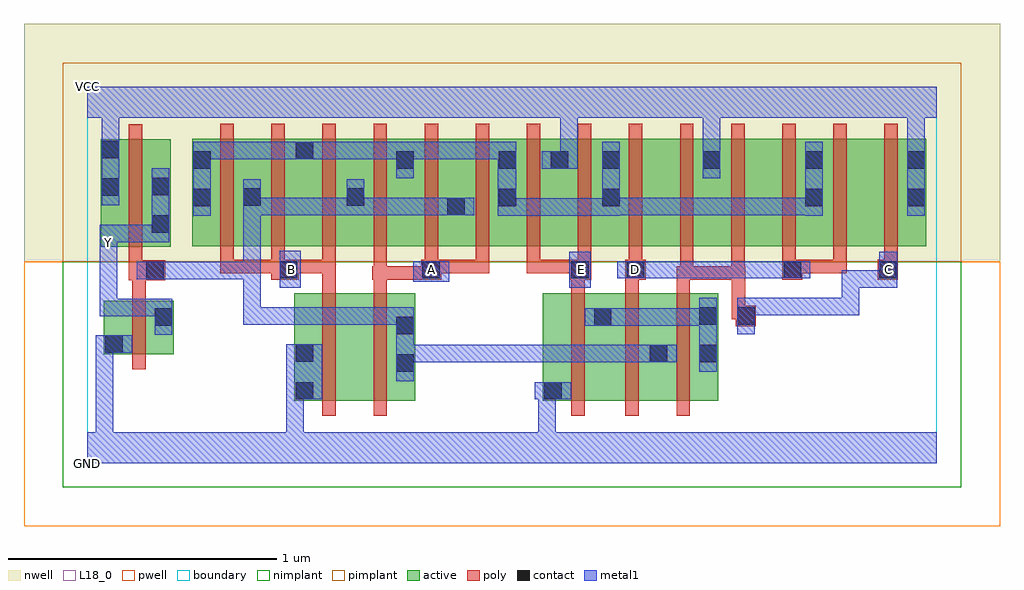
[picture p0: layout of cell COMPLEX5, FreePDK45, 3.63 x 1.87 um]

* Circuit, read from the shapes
.subckt COMPLEX5 A B C D E GND VCC Y
M1 Y n1 GND VSUBS nfet w=0.2u l=0.05u
M2 n2 B GND VSUBS nfet w=0.4u l=0.05u
M3 n1 A n2 VSUBS nfet w=0.4u l=0.05u
M4 n3 E GND VSUBS nfet w=0.4u l=0.05u
M5 n1 D n3 VSUBS nfet w=0.4u l=0.05u
M6 n3 C n1 VSUBS nfet w=0.4u l=0.05u
M7 Y n1 VCC n4 pfet w=0.4u l=0.05u
M8 n1 B n5 n4 pfet w=0.4u l=0.05u m=3
M9 n5 A n1 n4 pfet w=0.4u l=0.05u m=3
M10 VCC E n5 n4 pfet w=0.4u l=0.05u m=2
M11 n6 D n5 n4 pfet w=0.4u l=0.05u
M12 VCC C n6 n4 pfet w=0.4u l=0.05u
M13 n7 C VCC n4 pfet w=0.4u l=0.05u
M14 n5 D n7 n4 pfet w=0.4u l=0.05u
M15 n8 D n5 n4 pfet w=0.4u l=0.05u
M16 VCC C n8 n4 pfet w=0.4u l=0.05u
.ends

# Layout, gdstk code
import gdstk
lib = gdstk.Library(unit=1e-6, precision=1e-09)
def R(c, l, rs):  # rectangles x0, y0, x1, y1
    for r in rs: c.add(gdstk.rectangle(r[:2], r[2:], *l))
def A(c, l, x, y, w, h, nx, ny, dx, dy):  # array of equal rectangles
    R(c, l, [(x+i*dx, y+j*dy, x+i*dx+w, y+j*dy+h) for i in range(nx) for j in range(ny)])
active = (1, 0)
pwell = (2, 0)
nwell = (3, 0)
nimplant = (4, 0)
pimplant = (5, 0)
poly = (9, 0)
contact = (10, 0)
metal1 = (11, 0)
L18_0 = (18, 0)
boundary = (235, 0)

complex5 = lib.new_cell('COMPLEX5')
A(complex5, active, 2.135, 0.807, 0.225, 0.4, 3, 1, 0.38, 0)
R(complex5, active, [(0.77,0.232,0.995,0.632), (0.77,0.232,0.845,0.597), (0.995,0.232,1.22,0.632), (1.695,0.232,1.77,0.632), (1.695,0.232,1.955,0.632), (1.88,0.232,2.162,0.632), (2.087,0.232,2.347,0.632), (2.087,0.232,2.162,0.492), (2.272,0.232,2.347,0.632), (1.145,0.295,1.22,0.632), (1.88,0.295,1.955,0.632), (0.062,0.405,0.322,0.605), (0.062,0.405,0.137,0.605), (0.247,0.495,0.322,0.605), (0.05,0.805,0.125,1.205), (0.05,0.805,0.31,1.205), (0.235,0.805,0.31,1.2), (0.39,0.807,0.65,1.207), (0.39,0.807,0.465,1.2), (0.575,0.807,0.845,1.207), (0.575,0.807,0.65,1.07), (0.77,0.807,0.845,1.2), (0.77,0.807,1.035,1.207), (0.96,0.807,1.22,1.207), (0.96,0.807,1.035,1.07), (1.145,0.807,1.22,1.2), (1.145,0.807,1.41,1.207), (1.335,0.807,1.6,1.207), (1.335,0.807,1.41,1.07), (1.525,0.807,1.6,1.2), (1.525,0.807,1.795,1.207), (1.72,0.807,1.795,1.207), (1.72,0.807,1.985,1.207), (1.91,0.807,2.135,1.207), (1.91,0.807,1.985,1.2), (2.285,0.807,2.36,1.207), (2.285,0.807,2.515,1.207), (2.665,0.807,2.895,1.207), (2.665,0.807,2.74,1.2), (3.045,0.807,3.12,1.207)])
R(complex5, pwell, [(-0.235,-0.235,3.395,0.75)])
R(complex5, nwell, [(-0.235,0.75,3.395,1.635)])
R(complex5, nimplant, [(-0.09,-0.09,3.25,0.75)])
R(complex5, pimplant, [(-0.09,0.75,3.25,1.49)])
A(complex5, poly, 0.495, 0.707, 0.05, 0.095, 3, 1, 0.19, 0)
A(complex5, poly, 1.255, 0.707, 0.05, 0.095, 5, 1, 0.19, 0)
A(complex5, poly, 2.585, 0.707, 0.05, 0.095, 3, 1, 0.19, 0)
A(complex5, poly, 0.495, 0.752, 0.05, 0.51, 14, 1, 0.19, 0)
R(complex5, poly, [(0.875,0.177,0.925,0.687), (1.065,0.177,1.115,0.687), (1.8,0.177,1.85,0.687), (2.002,0.177,2.052,0.687), (2.192,0.177,2.242,0.687), (0.167,0.35,0.217,0.66), (2.412,0.51,2.487,0.585), (2.397,0.535,2.447,0.732), (2.397,0.535,2.462,0.585), (2.412,0.535,2.462,0.585), (0.167,0.61,0.217,0.73), (0.875,0.637,0.925,0.757), (1.065,0.637,1.115,0.732), (1.8,0.637,1.85,0.732), (2.002,0.637,2.052,0.732), (2.192,0.637,2.242,0.732), (0.155,0.68,0.29,0.755), (0.685,0.682,0.787,0.757), (1.06,0.682,1.115,0.732), (1.065,0.682,1.115,0.732), (1.065,0.682,1.115,0.732), (1.065,0.682,1.115,0.802), (1.065,0.682,1.292,0.732), (1.242,0.682,1.317,0.757), (1.795,0.682,1.875,0.757), (2.002,0.682,2.077,0.757), (2.192,0.682,2.255,0.732), (2.205,0.682,2.255,0.732), (2.205,0.682,2.255,0.732), (2.205,0.682,2.255,0.802), (2.205,0.682,2.445,0.732), (2.395,0.682,2.445,0.802), (2.395,0.682,2.447,0.732), (2.585,0.682,2.66,0.757), (2.94,0.682,3.015,0.757), (0.155,0.705,0.205,0.8), (0.495,0.707,0.545,0.757), (0.495,0.707,0.735,0.757), (0.685,0.707,0.735,0.757), (0.685,0.707,0.735,0.757), (0.737,0.707,0.925,0.757), (0.875,0.707,0.925,0.757), (0.875,0.707,0.925,0.757), (0.875,0.707,0.925,0.757), (1.267,0.707,1.495,0.757), (1.445,0.707,1.495,0.757), (1.445,0.707,1.495,0.757), (1.445,0.707,1.495,0.757), (1.635,0.707,1.685,0.757), (1.635,0.707,1.845,0.757), (1.795,0.707,1.845,0.757), (1.795,0.707,1.845,0.757), (2.61,0.707,2.825,0.757), (2.61,0.707,2.66,0.757), (2.61,0.707,2.66,0.757), (2.775,0.707,2.825,0.757), (0.155,0.75,0.205,1.26)])
A(complex5, contact, 2.29, 1.095, 0.065, 0.065, 3, 1, 0.38, 0)
R(complex5, contact, [(0.775,0.237,0.84,0.302), (1.7,0.237,1.765,0.302), (1.15,0.34,1.215,0.405), (2.092,0.375,2.157,0.44), (2.277,0.375,2.342,0.44), (0.775,0.377,0.84,0.442), (0.067,0.41,0.132,0.475), (1.15,0.48,1.215,0.545), (0.252,0.512,0.317,0.577), (1.885,0.512,1.95,0.577), (2.277,0.515,2.342,0.58), (2.417,0.515,2.482,0.58), (0.22,0.685,0.285,0.75), (0.717,0.687,0.782,0.752), (1.247,0.687,1.312,0.752), (1.8,0.687,1.865,0.752), (2.007,0.687,2.072,0.752), (2.59,0.687,2.655,0.752), (2.945,0.687,3.01,0.752), (0.24,0.857,0.305,0.922), (1.34,0.922,1.405,0.987), (0.395,0.955,0.46,1.02), (1.53,0.955,1.595,1.02), (1.915,0.955,1.98,1.02), (2.67,0.955,2.735,1.02), (3.05,0.955,3.115,1.02), (0.58,0.957,0.645,1.022), (0.965,0.957,1.03,1.022), (0.055,0.995,0.12,1.06), (0.24,0.997,0.305,1.062), (0.395,1.095,0.46,1.16), (1.15,1.095,1.215,1.16), (1.53,1.095,1.595,1.16), (1.725,1.095,1.79,1.16), (1.915,1.095,1.98,1.16), (0.775,1.13,0.84,1.195), (0.055,1.135,0.12,1.2)])
R(complex5, metal1, [(0,0,3.16,0.115), (0.032,0.05,0.097,0.115), (0.032,0.05,0.097,0.115), (0.032,0.05,0.097,0.115), (0.032,0.05,0.097,0.115), (0.032,0.05,0.097,0.115), (0.032,0.05,0.097,0.115), (0.032,0.05,0.097,0.475), (0.74,0.05,0.805,0.302), (1.677,0.05,1.742,0.302), (0.74,0.237,0.805,0.302), (0.74,0.237,0.805,0.302), (0.74,0.237,0.875,0.442), (1.665,0.237,1.8,0.302), (1.677,0.237,1.742,0.302), (1.677,0.237,1.742,0.302), (1.15,0.305,1.215,0.58), (2.277,0.34,2.342,0.615), (1.15,0.375,1.215,0.44), (1.15,0.375,1.215,0.44), (1.15,0.375,1.352,0.44), (1.287,0.375,1.49,0.44), (1.287,0.375,1.352,0.44), (1.425,0.375,1.49,0.44), (1.425,0.375,1.49,0.44), (1.425,0.375,1.49,0.44), (1.425,0.375,1.627,0.44), (1.562,0.375,1.765,0.44), (1.562,0.375,1.627,0.44), (1.7,0.375,1.765,0.44), (1.7,0.375,1.765,0.44), (1.7,0.375,1.765,0.44), (1.7,0.375,1.765,0.44), (1.7,0.375,1.765,0.44), (1.7,0.375,1.985,0.44), (1.92,0.375,1.985,0.44), (1.92,0.375,2.122,0.44), (2.057,0.375,2.122,0.44), (2.057,0.375,2.122,0.44), (2.057,0.375,2.192,0.44), (0.032,0.41,0.167,0.475), (0.252,0.477,0.317,0.612), (2.417,0.48,2.482,0.615), (1.85,0.512,1.985,0.577), (1.92,0.512,1.985,0.577), (1.92,0.512,1.985,0.577), (1.92,0.512,2.122,0.577), (2.057,0.512,2.122,0.577), (2.057,0.512,2.265,0.577), (2.2,0.512,2.265,0.577), (2.2,0.512,2.342,0.577), (0.58,0.515,0.645,0.58), (0.58,0.515,0.645,0.58), (0.58,0.515,0.645,0.58), (0.58,0.515,0.782,0.58), (0.58,0.515,0.645,0.75), (0.717,0.515,0.782,0.58), (0.717,0.515,0.782,0.58), (0.717,0.515,0.782,0.58), (0.717,0.515,1.03,0.58), (0.965,0.515,1.03,0.58), (0.965,0.515,1.03,0.58), (0.965,0.515,1.03,0.58), (0.965,0.515,1.215,0.58), (0.047,0.547,0.112,0.612), (0.047,0.547,0.317,0.612), (0.047,0.547,0.112,0.817), (0.252,0.547,0.317,0.612), (0.252,0.547,0.317,0.612), (2.417,0.55,2.62,0.615), (2.417,0.55,2.482,0.615), (2.417,0.55,2.482,0.615), (2.417,0.55,2.482,0.615), (2.417,0.55,2.482,0.615), (2.555,0.55,2.62,0.615), (2.555,0.55,2.62,0.615), (2.555,0.55,2.62,0.615), (2.555,0.55,2.872,0.615), (2.807,0.55,2.872,0.717), (2.807,0.55,2.872,0.615), (2.807,0.55,2.872,0.615), (2.807,0.55,2.872,0.615), (0.717,0.652,0.795,0.79), (1.792,0.652,1.872,0.787), (2.807,0.652,3.01,0.717), (2.807,0.652,2.872,0.717), (2.945,0.652,3.012,0.787), (1.212,0.675,1.347,0.752), (0.185,0.685,0.32,0.75), (0.255,0.685,0.32,0.75), (0.255,0.685,0.32,0.75), (0.255,0.685,0.507,0.75), (0.442,0.685,0.645,0.75), (0.442,0.685,0.507,0.75), (0.442,0.685,0.507,0.75), (0.442,0.685,0.507,0.75), (0.58,0.685,0.645,0.75), (0.58,0.685,0.645,0.987), (1.972,0.687,2.107,0.752), (2.042,0.687,2.122,0.752), (2.057,0.687,2.122,0.752), (2.057,0.687,2.337,0.752), (2.272,0.687,2.337,0.752), (2.272,0.687,2.342,0.752), (2.277,0.687,2.48,0.752), (2.277,0.687,2.342,0.752), (2.415,0.687,2.48,0.752), (2.415,0.687,2.48,0.752), (2.415,0.687,2.48,0.752), (2.415,0.687,2.62,0.752), (2.555,0.687,2.69,0.752), (0.047,0.752,0.112,0.887), (0.047,0.822,0.112,0.887), (0.047,0.822,0.112,0.887), (0.047,0.822,0.305,0.887), (0.24,0.822,0.305,1.097), (0.24,0.822,0.305,0.887), (0.24,0.822,0.305,0.887), (0.395,0.92,0.46,1.195), (1.527,0.92,1.592,0.985), (1.527,0.92,1.592,0.985), (1.527,0.92,1.627,0.985), (1.527,0.92,1.595,1.195), (1.562,0.92,1.627,0.985), (1.562,0.92,1.777,0.985), (1.712,0.92,1.777,0.985), (1.712,0.92,1.777,0.985), (1.712,0.92,1.777,0.985), (1.712,0.92,1.98,0.985), (1.915,0.92,1.98,1.195), (2.67,0.92,2.735,1.195), (3.05,0.92,3.115,1.195), (0.58,0.922,0.645,0.987), (0.58,0.922,0.645,0.987), (0.58,0.922,0.645,1.057), (0.58,0.922,0.875,0.987), (0.81,0.922,0.875,0.987), (0.81,0.922,0.875,0.987), (0.81,0.922,0.875,0.987), (0.81,0.922,1.03,0.987), (0.965,0.922,1.03,0.987), (0.965,0.922,1.03,0.987), (0.965,0.922,1.03,1.057), (0.965,0.922,1.167,0.987), (1.102,0.922,1.167,0.987), (1.102,0.922,1.167,0.987), (1.102,0.922,1.167,0.987), (1.102,0.922,1.37,0.987), (1.305,0.922,1.44,0.987), (1.915,0.922,1.98,0.987), (1.915,0.922,1.98,0.987), (1.915,0.922,2.122,0.987), (2.057,0.922,2.122,0.987), (2.057,0.922,2.34,0.987), (2.275,0.922,2.34,0.987), (2.275,0.922,2.34,0.987), (2.275,0.922,2.34,0.987), (2.275,0.922,2.482,0.987), (2.417,0.922,2.482,0.987), (2.417,0.922,2.482,0.987), (2.417,0.922,2.482,0.987), (2.417,0.922,2.735,0.987), (2.67,0.922,2.735,0.987), (2.67,0.922,2.735,0.987), (0.055,0.96,0.12,1.235), (1.15,1.06,1.215,1.195), (2.29,1.06,2.355,1.195), (1.69,1.095,1.825,1.16), (1.76,1.095,1.825,1.35), (0.395,1.13,0.46,1.195), (0.395,1.13,0.46,1.195), (0.395,1.13,0.645,1.195), (0.58,1.13,0.645,1.195), (0.58,1.13,0.645,1.195), (0.58,1.13,0.645,1.195), (0.58,1.13,0.805,1.195), (0.74,1.13,0.875,1.195), (0.81,1.13,0.875,1.195), (0.81,1.13,0.875,1.195), (0.81,1.13,1.012,1.195), (0.947,1.13,1.012,1.195), (0.947,1.13,1.012,1.195), (0.947,1.13,1.012,1.195), (0.947,1.13,1.215,1.195), (1.15,1.13,1.215,1.195), (1.15,1.13,1.215,1.195), (1.15,1.13,1.352,1.195), (1.287,1.13,1.352,1.195), (1.287,1.13,1.47,1.195), (1.405,1.13,1.47,1.195), (1.405,1.13,1.592,1.195), (2.29,1.13,2.355,1.35), (3.05,1.13,3.115,1.35), (0.055,1.17,0.12,1.35), (0,1.285,3.16,1.4)])
R(complex5, L18_0, [(0,0,3.16,0.115), (0.032,0.05,0.097,0.115), (0.032,0.05,0.097,0.115), (0.032,0.05,0.097,0.115), (0.032,0.05,0.097,0.115), (0.032,0.05,0.097,0.115), (0.032,0.05,0.097,0.115), (0.032,0.05,0.097,0.475), (0.74,0.05,0.805,0.302), (1.677,0.05,1.742,0.302), (0.74,0.237,0.805,0.302), (0.74,0.237,0.805,0.302), (0.74,0.237,0.875,0.442), (1.665,0.237,1.8,0.302), (1.677,0.237,1.742,0.302), (1.677,0.237,1.742,0.302), (0.032,0.41,0.167,0.475), (0.252,0.477,0.317,0.612), (2.417,0.48,2.482,0.615), (0.047,0.547,0.112,0.612), (0.047,0.547,0.112,0.817), (0.047,0.547,0.317,0.612), (0.252,0.547,0.317,0.612), (0.252,0.547,0.317,0.612), (2.417,0.55,2.482,0.615), (2.417,0.55,2.482,0.615), (2.417,0.55,2.482,0.615), (2.417,0.55,2.482,0.615), (2.417,0.55,2.62,0.615), (2.555,0.55,2.62,0.615), (2.555,0.55,2.62,0.615), (2.555,0.55,2.62,0.615), (2.555,0.55,2.872,0.615), (2.807,0.55,2.872,0.615), (2.807,0.55,2.872,0.615), (2.807,0.55,2.872,0.615), (2.807,0.55,2.872,0.717), (0.717,0.652,0.795,0.79), (1.792,0.652,1.872,0.787), (2.807,0.652,2.872,0.717), (2.807,0.652,3.01,0.717), (2.945,0.652,3.012,0.787), (1.212,0.675,1.347,0.752), (0.727,0.687,0.792,0.752), (1.247,0.687,1.312,0.752), (1.807,0.687,1.872,0.752), (1.972,0.687,2.107,0.752), (2.007,0.687,2.072,0.752), (2.042,0.687,2.122,0.752), (2.057,0.687,2.122,0.752), (2.057,0.687,2.337,0.752), (2.272,0.687,2.337,0.752), (2.272,0.687,2.342,0.752), (2.277,0.687,2.342,0.752), (2.277,0.687,2.48,0.752), (2.415,0.687,2.48,0.752), (2.415,0.687,2.48,0.752), (2.415,0.687,2.48,0.752), (2.415,0.687,2.62,0.752), (2.555,0.687,2.69,0.752), (2.947,0.687,3.012,0.752), (0.047,0.752,0.112,0.887), (0.047,0.787,0.112,0.852), (0.047,0.822,0.112,0.887), (0.047,0.822,0.112,0.887), (0.047,0.822,0.305,0.887), (0.24,0.822,0.305,0.887), (0.24,0.822,0.305,0.887), (0.24,0.822,0.305,1.097), (3.05,0.92,3.115,1.195), (0.055,0.96,0.12,1.235), (2.29,1.06,2.355,1.195), (1.69,1.095,1.825,1.16), (1.76,1.095,1.825,1.35), (2.29,1.13,2.355,1.35), (3.05,1.13,3.115,1.35), (0.055,1.17,0.12,1.35), (0,1.285,3.16,1.4)])
R(complex5, boundary, [(0,0,3.16,1.4)])
complex5.add(gdstk.Label('A', (1.28,0.72), layer=11, texttype=0))
complex5.add(gdstk.Label('B', (0.76,0.72), layer=11, texttype=0))
complex5.add(gdstk.Label('C', (2.98,0.72), layer=11, texttype=0))
complex5.add(gdstk.Label('D', (2.04,0.72), layer=11, texttype=0))
complex5.add(gdstk.Label('E', (1.84,0.72), layer=11, texttype=0))
complex5.add(gdstk.Label('Y', (0.08,0.82), layer=11, texttype=0))
complex5.add(gdstk.Label('VCC', (0,1.4), layer=11, texttype=0))
complex5.add(gdstk.Label('GND', (0,0), layer=11, texttype=0))

lib.write_gds('COMPLEX5.gds')
